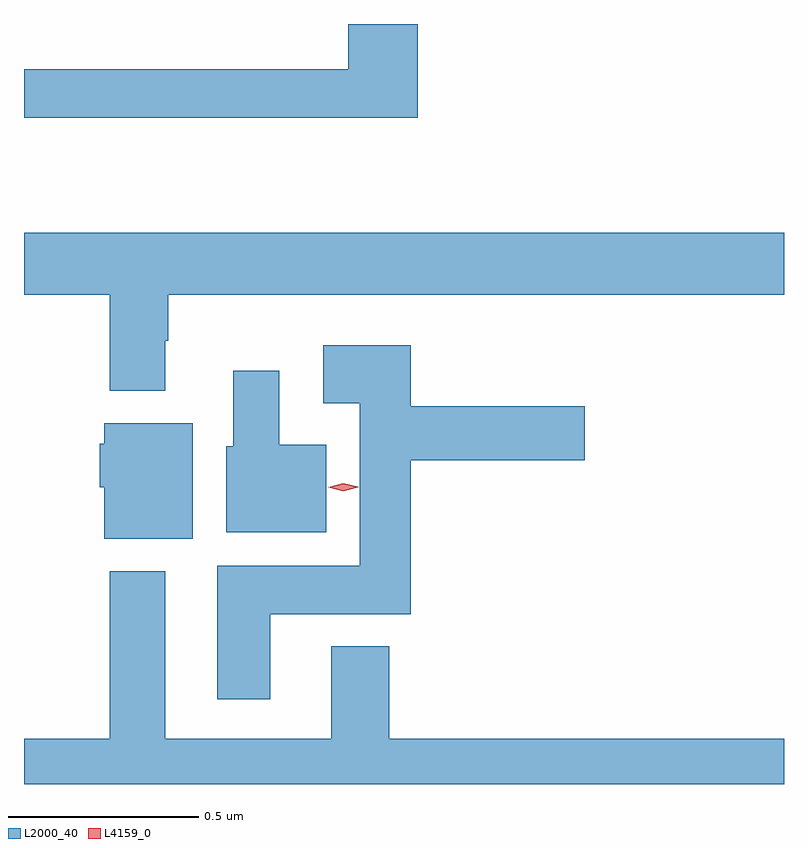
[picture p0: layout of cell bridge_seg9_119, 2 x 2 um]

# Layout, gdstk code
import gdstk
lib = gdstk.Library(unit=1e-6, precision=1e-09)
def P(c, l, *ps):  # polygons
    for p in ps: c.add(gdstk.Polygon(p, *l))
L2000_40 = (2000, 40)
L4159_0 = (4159, 0)

bridge_seg9_119 = lib.new_cell('bridge_seg9_119')
P(bridge_seg9_119, L2000_40, [(618.173,1235.761),(617.99,1235.761),(617.99,1235.642),(617.137,1235.642),(617.137,1235.514),(618.173,1235.514)],
  [(617.509,1234.928),(617.517,1234.928),(617.517,1235.048),(619.137,1235.048),(619.137,1235.212),(617.137,1235.212),(617.137,1235.048),(617.362,1235.048),(617.362,1234.796),(617.509,1234.796)],
  [(617.785,1234.208),(618.155,1234.208),(618.155,1234.613),(618.613,1234.613),(618.613,1234.755),(618.155,1234.755),(618.155,1234.915),(617.925,1234.915),(617.925,1234.763),(618.02,1234.763),(618.02,1234.336),(617.645,1234.336),(617.645,1233.984),(617.785,1233.984)],
  [(617.932,1234.654),(617.809,1234.654),(617.809,1234.849),(617.687,1234.849),(617.687,1234.65),(617.669,1234.65),(617.669,1234.424),(617.932,1234.424)],
  [(617.581,1234.711),(617.348,1234.711),(617.348,1234.656),(617.336,1234.656),(617.336,1234.542),(617.348,1234.542),(617.348,1234.406),(617.581,1234.406)],
  [(619.137,1233.88),(618.098,1233.88),(618.098,1234.123),(617.945,1234.123),(617.945,1233.88),(617.509,1233.88),(617.509,1234.321),(617.362,1234.321),(617.362,1233.88),(617.137,1233.88),(617.137,1233.761),(619.137,1233.761)])
P(bridge_seg9_119, L4159_0, [(617.977,1234.532),(617.937,1234.542),(617.937,1234.542),(617.937,1234.542),(617.977,1234.552),(618.017,1234.543),(618.017,1234.543),(618.017,1234.542)])

lib.write_gds('bridge_seg9_119.gds')
